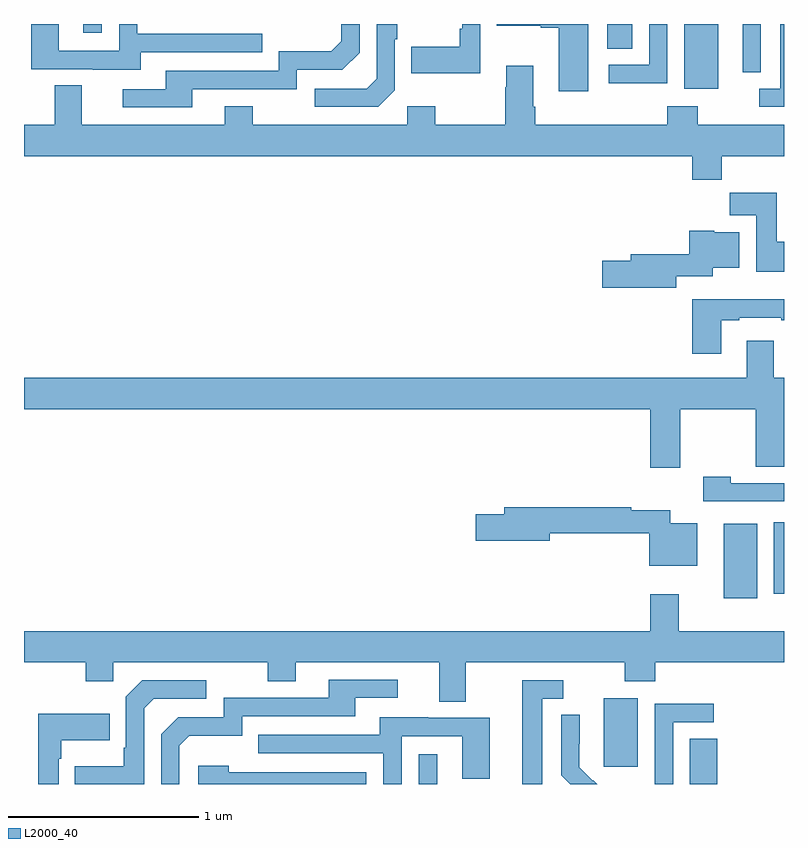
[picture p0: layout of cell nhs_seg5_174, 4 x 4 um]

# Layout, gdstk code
import gdstk
lib = gdstk.Library(unit=1e-6, precision=1e-09)
def R(c, l, rs):  # rectangles x0, y0, x1, y1
    for r in rs: c.add(gdstk.rectangle(r[:2], r[2:], *l))
def P(c, l, *ps):  # polygons
    for p in ps: c.add(gdstk.Polygon(p, *l))
L2000_40 = (2000, 40)

nhs_seg5_174 = lib.new_cell('nhs_seg5_174')
R(nhs_seg5_174, L2000_40, [(123.078,842.799,123.175,842.956), (124.505,842.799,124.649,843.038), (124.052,842.889,124.231,843.25), (124.682,843.776,124.858,844.168), (124.946,843.801,125,844.177), (124.475,846.458,124.654,846.799), (124.07,846.67,124.201,846.799), (121.313,846.753,121.41,846.799)])
P(nhs_seg5_174, L2000_40, [(125,846.799),(124.979,846.799),(124.979,846.459),(124.869,846.459),(124.869,846.363),(125,846.363)],
  [(123.97,846.799),(123.489,846.799),(123.489,846.791),(123.719,846.791),(123.719,846.779),(123.815,846.779),(123.815,846.444),(123.97,846.444)],
  [(123.402,846.799),(123.306,846.799),(123.306,846.775),(123.294,846.775),(123.294,846.679),(123.037,846.679),(123.037,846.539),(123.402,846.539)],
  [(121.885,846.456),(122.436,846.456),(122.436,846.558),(122.676,846.558),(122.766,846.648),(122.766,846.799),(122.67,846.799),(122.67,846.708),(122.617,846.655),(122.34,846.655),(122.34,846.552),(121.745,846.552),(121.745,846.456),(121.521,846.456),(121.521,846.36),(121.885,846.36)],
  [(121.615,846.651),(122.255,846.651),(122.255,846.747),(121.596,846.747),(121.596,846.799),(121.5,846.799),(121.5,846.657),(121.182,846.657),(121.182,846.799),(121.037,846.799),(121.037,846.561),(121.361,846.561),(121.361,846.557),(121.615,846.557)],
  [(124.386,846.799),(124.29,846.799),(124.29,846.585),(124.077,846.585),(124.077,846.487),(124.386,846.487)],
  [(124.878,846.799),(124.784,846.799),(124.784,846.698),(124.782,846.698),(124.782,846.544),(124.878,846.544)],
  [(122.952,846.45),(122.952,846.719),(122.965,846.719),(122.965,846.799),(122.856,846.799),(122.856,846.51),(122.805,846.459),(122.529,846.459),(122.529,846.363),(122.865,846.363)],
  [(124.673,846.104),(125,846.104),(125,846.268),(124.545,846.268),(124.545,846.367),(124.385,846.367),(124.385,846.268),(123.692,846.268),(123.692,846.364),(123.679,846.364),(123.679,846.58),(123.539,846.58),(123.539,846.467),(123.532,846.467),(123.532,846.268),(123.165,846.268),(123.165,846.367),(123.018,846.367),(123.018,846.268),(122.205,846.268),(122.205,846.367),(122.057,846.367),(122.057,846.268),(121.303,846.268),(121.303,846.476),(121.163,846.476),(121.163,846.268),(121,846.268),(121,846.104),(124.517,846.104),(124.517,845.98),(124.673,845.98)],
  [(125,845.652),(124.963,845.652),(124.963,845.911),(124.714,845.911),(124.714,845.792),(124.853,845.792),(124.853,845.496),(125,845.496)],
  [(124.432,845.472),(124.624,845.472),(124.624,845.516),(124.765,845.516),(124.765,845.704),(124.632,845.704),(124.632,845.71),(124.502,845.71),(124.502,845.588),(124.193,845.588),(124.193,845.552),(124.044,845.552),(124.044,845.41),(124.432,845.41)],
  [(124.669,845.241),(124.765,845.241),(124.765,845.253),(124.985,845.253),(124.985,845.241),(125,845.241),(125,845.35),(124.517,845.35),(124.517,845.064),(124.669,845.064)],
  [(124.455,844.772),(124.852,844.772),(124.852,844.468),(125,844.468),(125,844.936),(124.945,844.936),(124.945,845.131),(124.805,845.131),(124.805,844.936),(121,844.936),(121,844.772),(124.295,844.772),(124.295,844.464),(124.455,844.464)],
  [(125,844.383),(124.719,844.383),(124.719,844.416),(124.575,844.416),(124.575,844.287),(125,844.287)],
  [(124.543,844.171),(124.402,844.171),(124.402,844.239),(124.196,844.239),(124.196,844.256),(123.527,844.256),(123.527,844.22),(123.378,844.22),(123.378,844.078),(123.766,844.078),(123.766,844.12),(124.292,844.12),(124.292,843.947),(124.543,843.947)],
  [(123.325,843.44),(124.162,843.44),(124.162,843.341),(124.322,843.341),(124.322,843.44),(125,843.44),(125,843.604),(124.447,843.604),(124.447,843.799),(124.295,843.799),(124.295,843.604),(121,843.604),(121,843.44),(121.324,843.44),(121.324,843.341),(121.47,843.341),(121.47,843.44),(122.284,843.44),(122.284,843.341),(122.431,843.341),(122.431,843.44),(123.185,843.44),(123.185,843.232),(123.325,843.232)],
  [(121.818,843),(121.871,843.053),(122.148,843.053),(122.148,843.156),(122.743,843.156),(122.743,843.252),(122.968,843.252),(122.968,843.348),(122.603,843.348),(122.603,843.252),(122.052,843.252),(122.052,843.15),(121.812,843.15),(121.722,843.06),(121.722,842.799),(121.818,842.799)],
  [(121.632,843.198),(121.683,843.249),(121.96,843.249),(121.96,843.345),(121.623,843.345),(121.536,843.258),(121.536,842.989),(121.524,842.989),(121.524,842.893),(121.267,842.893),(121.267,842.799),(121.632,842.799)],
  [(123.727,843.249),(123.838,843.249),(123.838,843.345),(123.623,843.345),(123.623,842.799),(123.727,842.799)],
  [(124.416,843.123),(124.63,843.123),(124.63,843.222),(124.32,843.222),(124.32,842.799),(124.416,842.799)],
  [(121.182,842.933),(121.195,842.933),(121.195,843.029),(121.451,843.029),(121.451,843.169),(121.074,843.169),(121.074,842.799),(121.182,842.799)],
  [(123.996,842.82),(123.993,842.817),(123.923,842.888),(123.923,843.01),(123.924,843.01),(123.924,843.164),(123.828,843.164),(123.828,842.846),(123.875,842.799),(124.017,842.799)],
  [(122.988,843.051),(123.306,843.051),(123.306,842.827),(123.451,842.827),(123.451,843.147),(123.127,843.147),(123.127,843.151),(122.873,843.151),(122.873,843.057),(122.233,843.057),(122.233,842.961),(122.892,842.961),(122.892,842.799),(122.988,842.799)],
  [(122.802,842.862),(122.078,842.862),(122.078,842.896),(121.917,842.896),(121.917,842.799),(122.802,842.799)])

lib.write_gds('nhs_seg5_174.gds')
